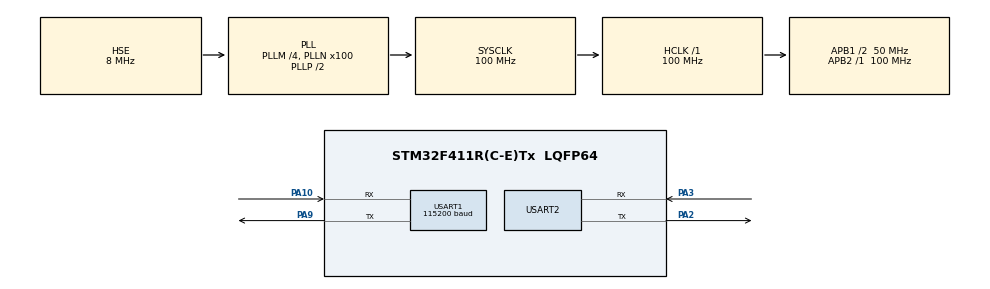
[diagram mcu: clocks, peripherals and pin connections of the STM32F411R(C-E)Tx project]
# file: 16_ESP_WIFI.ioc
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Mcu.Family=STM32F4
Mcu.Name=STM32F411R(C-E)Tx
Mcu.Package=LQFP64
NVIC.PriorityGroup=NVIC_PRIORITYGROUP_4
NVIC.USART1_IRQn=true\:0\:0\:false\:false\:true\:true\:true\:true
NVIC.USART2_IRQn=true\:0\:0\:false\:false\:true\:true\:true\:true
PA10.Mode=Asynchronous
PA10.Signal=USART1_RX
PA13.Mode=Serial_Wire
PA13.Signal=SYS_JTMS-SWDIO
PA14.Mode=Serial_Wire
PA14.Signal=SYS_JTCK-SWCLK
PA2.Mode=Asynchronous
PA2.Signal=USART2_TX
PA3.Mode=Asynchronous
PA3.Signal=USART2_RX
PA9.Mode=Asynchronous
PA9.Signal=USART1_TX
PH0\ -\ OSC_IN.Mode=HSE-External-Oscillator
PH0\ -\ OSC_IN.Signal=RCC_OSC_IN
PH1\ -\ OSC_OUT.Mode=HSE-External-Oscillator
PH1\ -\ OSC_OUT.Signal=RCC_OSC_OUT
ProjectManager.HeapSize=0x200
ProjectManager.StackSize=0x400
ProjectManager.TargetToolchain=STM32CubeIDE
RCC.48MHZClocksFreq_Value=50000000
RCC.AHBFreq_Value=100000000
RCC.APB1CLKDivider=RCC_HCLK_DIV2
RCC.APB1Freq_Value=50000000
RCC.APB1TimFreq_Value=100000000
RCC.APB2Freq_Value=100000000
RCC.APB2TimFreq_Value=100000000
RCC.CortexFreq_Value=100000000
RCC.HCLKFreq_Value=100000000
RCC.HSE_VALUE=8000000
RCC.HSI_VALUE=16000000
RCC.LSE_VALUE=32768
RCC.PLLM=4
RCC.PLLN=100
RCC.PLLSourceVirtual=RCC_PLLSOURCE_HSE
RCC.SYSCLKFreq_VALUE=100000000
RCC.SYSCLKSource=RCC_SYSCLKSOURCE_PLLCLK
RCC.VCOOutputFreq_Value=200000000
USART1.BaudRate=115200
USART1.VirtualMode=VM_ASYNC
USART2.VirtualMode=VM_ASYNC
board=custom

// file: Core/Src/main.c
/* USER CODE BEGIN Header */
/**
  ******************************************************************************
  * @file           : main.c
  * @brief          : Main program body
  ******************************************************************************
  * @attention
  *
  * Copyright (c) 2025 STMicroelectronics.
  * All rights reserved.
  *
  * This software is licensed under terms that can be found in the LICENSE file
  * in the root directory of this software component.
  * If no LICENSE file comes with this software, it is provided AS-IS.
  *
  ******************************************************************************
  */
/* USER CODE END Header */
#include "main.h"
#include "usart.h"
#include "gpio.h"

/* USER CODE BEGIN Includes */
#include <stdio.h>
#include <string.h>
/* USER CODE END Includes */

/* USER CODE BEGIN PD */
#define BUFF_SIZE			128
/* USER CODE END PD */

/* USER CODE BEGIN PV */
uint8_t rxBuff_1[BUFF_SIZE];
uint8_t rxBuff_2[BUFF_SIZE];
uint8_t rxData_1, rxData_2;
uint16_t rxIndex_1 = 0, rxIndex_2 = 0;
uint8_t rxCount_1, rxCount_2;

uint8_t rxReady_1 = 0, rxReady_2 = 0;
/* USER CODE END PV */

void SystemClock_Config(void);
/* USER CODE BEGIN PFP */
void HAL_UART_RxCpltCallback (UART_HandleTypeDef *huart) {
	if (huart->Instance == USART2) {
		if (rxIndex_2 < BUFF_SIZE - 1) {
			rxBuff_2[rxIndex_2++] = rxData_2;
			if (rxData_2 == '\n') {
				rxReady_2 = 1;
			}
		}
		else {
			rxIndex_2 = 0;
		}

		HAL_UART_Receive_IT(&huart2, &rxData_2, 1);
	}

	else if (huart->Instance == USART1) {
		if (rxIndex_1 < BUFF_SIZE - 1) {
			rxBuff_1[rxIndex_1++] = rxData_1;
			if (rxData_1 == '\n') {
				rxIndex_1 = 0;
			}
		}
		else {
			rxIndex_1 = 0;
		}
		HAL_UART_Receive_IT(&huart1, &rxData_1, 1);
	}
}
/* USER CODE END PFP */

int main(void)
{

  /* MCU Configuration--------------------------------------------------------*/

  /* Reset of all peripherals, Initializes the Flash interface and the Systick. */
  HAL_Init();

  /* Configure the system clock */
  SystemClock_Config();

  /* Initialize all configured peripherals */
  MX_GPIO_Init();
  MX_USART2_UART_Init();
  MX_USART1_UART_Init();
  /* USER CODE BEGIN 2 */
  HAL_UART_Receive_IT(&huart1, &rxData_1, 1);
  HAL_UART_Receive_IT(&huart2, &rxData_2, 1);
  /* USER CODE END 2 */

  /* Infinite loop */
  /* USER CODE BEGIN WHILE */
  while (1)
  {
	  if (rxReady_2) {
		  rxReady_2 = 0;
		  if (rxBuff_2[0] == 'A') {
			  HAL_UART_Transmit(&huart1, rxBuff_2, rxIndex_2, HAL_MAX_DELAY);
		  }
		  rxIndex_2 = 0;
		  memset(rxBuff_2, 0, BUFF_SIZE);
	  }
    /* USER CODE END WHILE */

  }
}

void SystemClock_Config(void)
{
  RCC_OscInitTypeDef RCC_OscInitStruct = {0};
  RCC_ClkInitTypeDef RCC_ClkInitStruct = {0};

  /** Configure the main internal regulator output voltage
  */
  __HAL_RCC_PWR_CLK_ENABLE();
  __HAL_PWR_VOLTAGESCALING_CONFIG(PWR_REGULATOR_VOLTAGE_SCALE1);

  /** Initializes the RCC Oscillators according to the specified parameters
  * in the RCC_OscInitTypeDef structure.
  */
  RCC_OscInitStruct.OscillatorType = RCC_OSCILLATORTYPE_HSE;
  RCC_OscInitStruct.HSEState = RCC_HSE_ON;
  RCC_OscInitStruct.PLL.PLLState = RCC_PLL_ON;
  RCC_OscInitStruct.PLL.PLLSource = RCC_PLLSOURCE_HSE;
  RCC_OscInitStruct.PLL.PLLM = 4;
  RCC_OscInitStruct.PLL.PLLN = 100;
  RCC_OscInitStruct.PLL.PLLP = RCC_PLLP_DIV2;
  RCC_OscInitStruct.PLL.PLLQ = 4;
  if (HAL_RCC_OscConfig(&RCC_OscInitStruct) != HAL_OK)
  {
    Error_Handler();
  }

  /** Initializes the CPU, AHB and APB buses clocks
  */
  RCC_ClkInitStruct.ClockType = RCC_CLOCKTYPE_HCLK|RCC_CLOCKTYPE_SYSCLK
                              |RCC_CLOCKTYPE_PCLK1|RCC_CLOCKTYPE_PCLK2;
  RCC_ClkInitStruct.SYSCLKSource = RCC_SYSCLKSOURCE_PLLCLK;
  RCC_ClkInitStruct.AHBCLKDivider = RCC_SYSCLK_DIV1;
  RCC_ClkInitStruct.APB1CLKDivider = RCC_HCLK_DIV2;
  RCC_ClkInitStruct.APB2CLKDivider = RCC_HCLK_DIV1;

  if (HAL_RCC_ClockConfig(&RCC_ClkInitStruct, FLASH_LATENCY_3) != HAL_OK)
  {
    Error_Handler();
  }
}

void Error_Handler(void)
{
  __disable_irq();
  while (1)
  {
  }
}
